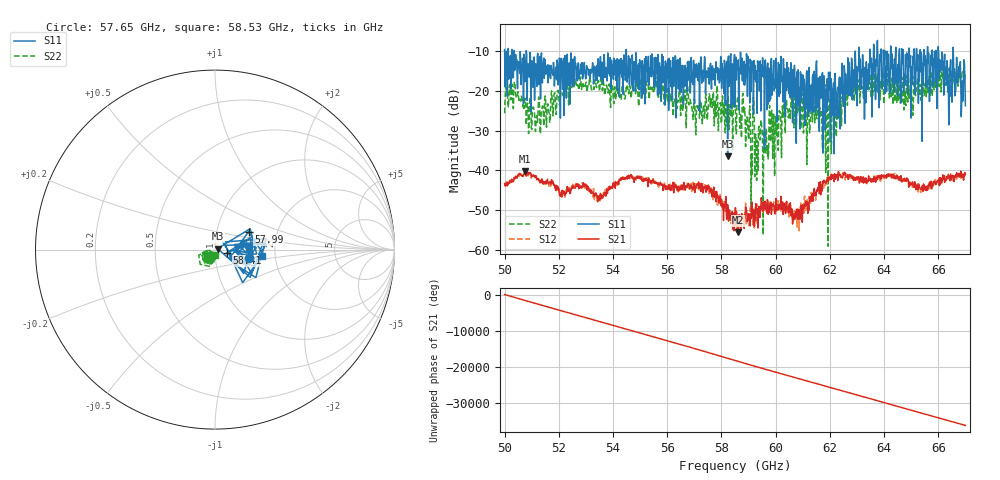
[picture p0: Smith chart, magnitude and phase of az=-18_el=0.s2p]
!Created with skrf (http://scikit-rf.org).
# GHz S RI R 50.0
!freq ReS11 ImS11 ReS21 ImS21 ReS12 ImS12 ReS22 ImS22
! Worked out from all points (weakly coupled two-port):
!   1001 points, 50 GHz to 67 GHz, reference 50 ohm
!   highest |S21| = -40.16 dB at 50.75 GHz (marker M1); lowest = -55.5 dB at 58.62 GHz (marker M2)
!   lowest |S11| = -36.4 dB at 58.23 GHz (marker M3), VSWR 1.03, Z = 51.4 + j0.56 ohm
!   |S11| at or under -10 dB: 50.8 GHz to 54.49 GHz (3.686 GHz wide, 7 % of centre); 54.49 GHz to 63.07 GHz (8.58 GHz wide, 14.6 % of centre); 66.01 GHz to 66.54 GHz (529.9 MHz wide, 0.8 % of centre) (the widest 3 of 28)
!   |S22| runs from -59.0 to -13.8 dB; largest |S21 - S12| = 0.0024
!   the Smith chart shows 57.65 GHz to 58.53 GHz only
!   S11 on the Smith chart (normalised r, x): 57.65 GHz: 1.47, -0.14; 57.99 GHz: 1.42, +0.30; 58.41 GHz: 1.14, -0.04; 58.53 GHz: 1.70, -0.13
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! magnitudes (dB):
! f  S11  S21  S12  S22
! 50 GHz  -9.6  -43.4  -43.9  -25.6
! 50.75 GHz  -17.8  -40.2  -40.5  -21.9
! 51.38 GHz  -16.3  -42.1  -42.3  -24.6
! 52.84 GHz  -13.8  -44.5  -43.7  -19.7
! 55.68 GHz  -13.5  -43.2  -44.3  -22.0
! 56.99 GHz  -14.8  -43.3  -45.0  -22.3
! 57.65 GHz  -14.1  -46.7  -45.1  -24.2
! 57.99 GHz  -13.5  -47.8  -48.2  -28.2
! 58.23 GHz  -36.4  -48.6  -49.4  -23.2
! 58.41 GHz  -23.4  -54.6  -54.8  -34.9
! 58.5 GHz  -24.1  -51.2  -54.1  -24.0
! 58.53 GHz  -11.6  -53.8  -50.4  -30.6
! 58.62 GHz  -12.2  -55.5  -53.4  -22.3
! 59.61 GHz  -12.5  -47.7  -49.3  -34.7
! 59.84 GHz  -11.9  -51.0  -49.3  -25.7
! 60.34 GHz  -14.4  -49.4  -49.3  -25.7
! 61.34 GHz  -25.0  -46.6  -47.4  -25.5
! 62 GHz  -15.3  -41.7  -42.2  -25.1
! 62.55 GHz  -15.0  -40.4  -41.3  -19.2
! 64.18 GHz  -17.7  -41.1  -40.8  -18.4
! 66.06 GHz  -15.3  -41.8  -42.8  -14.8
! 67 GHz  -23.8  -41.0  -41.2  -15.7
